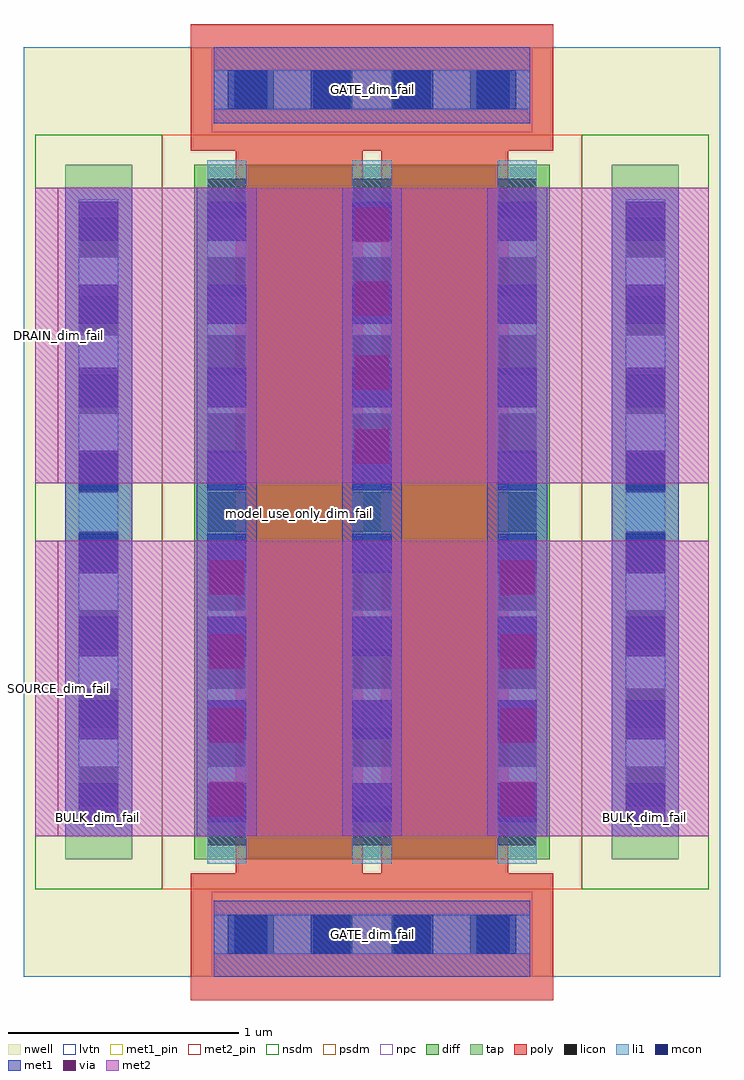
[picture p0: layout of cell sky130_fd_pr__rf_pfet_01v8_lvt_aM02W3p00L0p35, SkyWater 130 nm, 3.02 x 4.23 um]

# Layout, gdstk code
import gdstk
lib = gdstk.Library(unit=1e-6, precision=1e-09)
def R(c, l, rs):  # rectangles x0, y0, x1, y1
    for r in rs: c.add(gdstk.rectangle(r[:2], r[2:], *l))
def A(c, l, x, y, w, h, nx, ny, dx, dy):  # array of equal rectangles
    R(c, l, [(x+i*dx, y+j*dy, x+i*dx+w, y+j*dy+h) for i in range(nx) for j in range(ny)])
def P(c, l, *ps):  # polygons
    for p in ps: c.add(gdstk.Polygon(p, *l))
nwell = (64, 20)
diff = (65, 20)
tap = (65, 44)
poly = (66, 20)
licon = (66, 44)
li1 = (67, 20)
mcon = (67, 44)
met1_pin = (68, 16)
met1 = (68, 20)
via = (68, 44)
met2_pin = (69, 16)
met2 = (69, 20)
nsdm = (93, 44)
psdm = (94, 20)
npc = (95, 20)
lvtn = (125, 44)

sky130_fd_pr__rf_pfet_01 = lib.new_cell('sky130_fd_pr__rf_pfet_01v8_lvt_aM02W3p00L0p35')
R(sky130_fd_pr__rf_pfet_01, nwell, [(0,0,3.02,4.03)])
R(sky130_fd_pr__rf_pfet_01, diff, [(0.74,0.51,2.28,3.52)])
R(sky130_fd_pr__rf_pfet_01, tap, [(0.18,0.51,0.47,3.52), (2.55,0.51,2.84,3.52)])
P(sky130_fd_pr__rf_pfet_01, poly, [(0.725,-0.1),(0.725,0.45),(0.92,0.45),(0.92,3.58),(1.47,3.58),(1.47,0.45),(1.55,0.45),(1.55,3.58),(0.725,3.58),(0.725,4.13),(2.295,4.13),(2.295,3.58),(2.1,3.58),(2.1,0.45),(2.295,0.45),(2.295,-0.1)])
A(sky130_fd_pr__rf_pfet_01, licon, 0.915, 0.1, 0.17, 0.17, 4, 2, 0.34, 3.66)
A(sky130_fd_pr__rf_pfet_01, licon, 0.795, 0.57, 0.17, 0.17, 3, 9, 0.63, 0.34)
A(sky130_fd_pr__rf_pfet_01, licon, 0.24, 0.74, 0.17, 0.17, 1, 8, 0, 0.34)
A(sky130_fd_pr__rf_pfet_01, licon, 2.61, 0.74, 0.17, 0.17, 1, 8, 0, 0.34)
A(sky130_fd_pr__rf_pfet_01, li1, 0.795, 0.49, 0.17, 3.05, 3, 1, 0.63, 0)
A(sky130_fd_pr__rf_pfet_01, li1, 0.795, 0.67, 0.17, 2.69, 3, 1, 0.63, 0)
R(sky130_fd_pr__rf_pfet_01, li1, [(0.825,0.1,2.195,0.27), (0.24,0.66,0.41,3.37), (2.61,0.66,2.78,3.37), (0.24,0.67,0.41,3.36), (2.61,0.67,2.78,3.36), (0.825,3.76,2.195,3.93)])
A(sky130_fd_pr__rf_pfet_01, mcon, 0.885, 0.1, 0.17, 0.17, 4, 2, 0.36, 3.66)
A(sky130_fd_pr__rf_pfet_01, mcon, 0.24, 0.67, 0.17, 0.17, 1, 8, 0, 0.36)
A(sky130_fd_pr__rf_pfet_01, mcon, 0.795, 0.67, 0.17, 0.17, 3, 8, 0.63, 0.36)
A(sky130_fd_pr__rf_pfet_01, mcon, 2.61, 0.67, 0.17, 0.17, 1, 8, 0, 0.36)
R(sky130_fd_pr__rf_pfet_01, met1_pin, [(0.825,0,2.195,0.33), (0.18,0.61,0.47,0.69), (2.55,0.61,2.84,0.69), (0.825,3.7,2.195,4.03)])
A(sky130_fd_pr__rf_pfet_01, met1, 0.75, 0.61, 0.26, 2.81, 3, 1, 0.63, 0)
R(sky130_fd_pr__rf_pfet_01, met1, [(0.825,0,2.195,0.33), (0.18,0.61,0.47,3.42), (0.75,0.61,1.01,1.89), (2.01,0.61,2.27,1.89), (2.55,0.61,2.84,3.42), (1.38,2.14,1.64,3.42), (0.825,3.7,2.195,4.03)])
A(sky130_fd_pr__rf_pfet_01, via, 0.805, 0.695, 0.15, 0.15, 1, 4, 0, 0.32)
A(sky130_fd_pr__rf_pfet_01, via, 2.065, 0.695, 0.15, 0.15, 1, 4, 0, 0.32)
A(sky130_fd_pr__rf_pfet_01, via, 1.435, 2.225, 0.15, 0.15, 1, 4, 0, 0.32)
R(sky130_fd_pr__rf_pfet_01, met2_pin, [(0.05,0.61,0.15,1.89), (0.05,2.14,0.15,3.42)])
R(sky130_fd_pr__rf_pfet_01, met2, [(0.05,0.61,2.97,1.89), (0.75,0.61,1.01,1.89), (2.01,0.61,2.27,1.89), (0.05,2.14,2.97,3.42), (1.38,2.14,1.64,3.42)])
R(sky130_fd_pr__rf_pfet_01, nsdm, [(0.05,0.38,0.6,3.65), (2.42,0.38,2.97,3.65)])
R(sky130_fd_pr__rf_pfet_01, psdm, [(0.6,0.38,2.42,3.65)])
R(sky130_fd_pr__rf_pfet_01, npc, [(0.815,0,2.205,0.37), (0.815,3.66,2.205,4.03)])
R(sky130_fd_pr__rf_pfet_01, lvtn, [(0,0,3.02,4.03)])
sky130_fd_pr__rf_pfet_01.add(gdstk.Label('model_use_only_dim_fail', (1.195,2.01), layer=66, texttype=83))
sky130_fd_pr__rf_pfet_01.add(gdstk.Label('model_use_only_dim_fail', (1.825,2.01), layer=66, texttype=83))
sky130_fd_pr__rf_pfet_01.add(gdstk.Label('SOURCE_dim_fail', (0.15,1.25), layer=69, texttype=5))
sky130_fd_pr__rf_pfet_01.add(gdstk.Label('DRAIN_dim_fail', (0.15,2.78), layer=69, texttype=5))
sky130_fd_pr__rf_pfet_01.add(gdstk.Label('GATE_dim_fail', (1.51,0.185), layer=68, texttype=5))
sky130_fd_pr__rf_pfet_01.add(gdstk.Label('GATE_dim_fail', (1.51,3.845), layer=68, texttype=5))
sky130_fd_pr__rf_pfet_01.add(gdstk.Label('BULK_dim_fail', (2.69,0.69), layer=68, texttype=5))
sky130_fd_pr__rf_pfet_01.add(gdstk.Label('BULK_dim_fail', (0.32,0.69), layer=68, texttype=5))

lib.write_gds('sky130_fd_pr__rf_pfet_01v8_lvt_aM02W3p00L0p35.gds')
